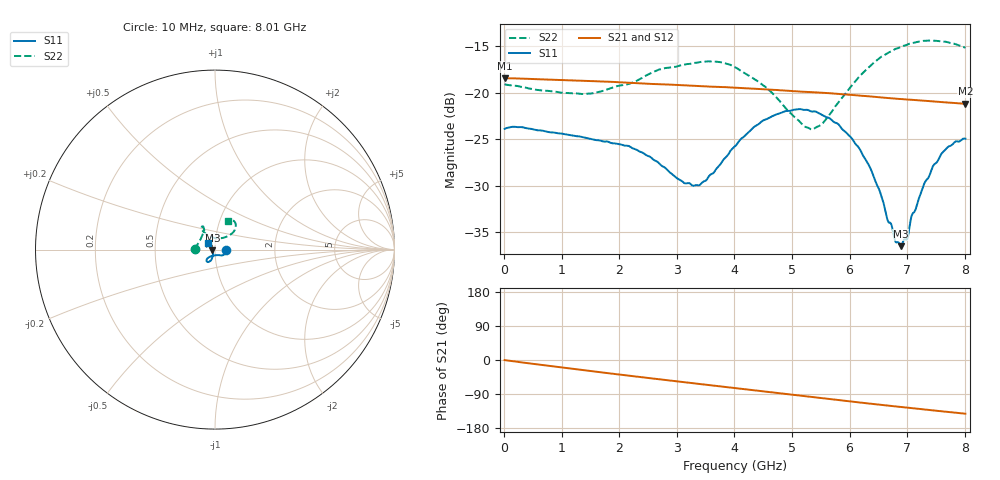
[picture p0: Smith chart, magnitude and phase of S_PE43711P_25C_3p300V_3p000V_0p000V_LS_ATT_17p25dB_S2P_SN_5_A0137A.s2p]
! Device ID: PE43711P
! File Path: z:\PE43711P\CHAR_NOM_04282014\AMB\3p300\LS_ATT_17p25dB\PE43711P_AMB_3p300V_3p000V_0p000V_LS_ATT_17p25dB_S2P_SN_5_A0137A.s2p
! Serial: 5
! Lot: A0137A
! Temp: 25C
! VDD: 3.300
! VSS: 0.000
! Control_Hi: 3.000
! Control_Lo: 0.000
! Attenuation Step: 17.25dB
! Port 1: RF1
! Port 2: RF2
! ThroughPath:1-2
! IDD: 0.0001273353
! ISS: -6.97e-008
#  Hz  S  RI  R  50
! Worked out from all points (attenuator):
!   801 points, 10 MHz to 8.01 GHz, reference 50 ohm
!   highest |S21| = -18.44 dB at 20 MHz (marker M1); lowest = -21.2 dB at 8.01 GHz (marker M2)
!   lowest |S11| = -36.5 dB at 6.89 GHz (marker M3), VSWR 1.03, Z = 48.6 - j0.313 ohm
!   |S11| at or under -10 dB: start of sweep to end of sweep
!   |S22| runs from -24.0 to -14.4 dB; largest |S21 - S12| = 0.00022
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1e7  0.0639 5.58e-05  0.1197 -0.000517  0.1198 -0.000583  -0.1112 0.000886
2e7  0.0641 -4.85e-05  0.1197 -0.000868  0.1197 -0.000912  -0.1109 0.00147
1.35e9  0.0507 -0.0278  0.1042 -0.0513  0.1043 -0.0513  -0.0848 0.0501
2.16e9  0.0398 -0.033  0.0851 -0.0747  0.0852 -0.0747  -0.0655 0.0901
2.68e9  0.028 -0.0314  0.0707 -0.0858  0.0707 -0.0859  -0.0621 0.1175
3.11e9  0.0119 -0.0307  0.0576 -0.0933  0.0576 -0.0934  -0.0642 0.1258
3.37e9  0.000223 -0.0317  0.0495 -0.0966  0.0496 -0.0966  -0.0671 0.1293
4.01e9  -0.0314 -0.0408  0.0289 -0.1025  0.0289 -0.1025  -0.0751 0.1149
4.69e9  -0.0472 -0.059  0.00671 -0.1033  0.00669 -0.1034  -0.0476 0.0846
5.35e9  -0.0395 -0.0687  -0.0135 -0.0997  -0.0135 -0.0998  0.00779 0.0629
5.53e9  -0.0339 -0.0679  -0.0189 -0.0981  -0.0188 -0.0982  0.027 0.0627
5.79e9  -0.0258 -0.0631  -0.0264 -0.095  -0.0264 -0.0951  0.0542 0.0685
6.16e9  -0.0162 -0.0479  -0.0361 -0.0896  -0.0361 -0.0897  0.0876 0.0841
6.38e9  -0.0126 -0.0357  -0.0414 -0.086  -0.0414 -0.0861  0.1023 0.0975
6.68e9  -0.0125 -0.0157  -0.0475 -0.0806  -0.0476 -0.0807  0.1134 0.1198
6.8e9  -0.0131 -0.00864  -0.0499 -0.0784  -0.0499 -0.0784  0.1153 0.1282
6.89e9  -0.0146 -0.00322  -0.0516 -0.0768  -0.0516 -0.0768  0.1162 0.1336
6.99e9  -0.0159 0.00253  -0.0534 -0.0749  -0.0534 -0.0749  0.1157 0.1392
7.09e9  -0.0202 0.00921  -0.0553 -0.073  -0.0553 -0.0731  0.1138 0.1458
7.46e9  -0.0299 0.0277  -0.0614 -0.0655  -0.0614 -0.0656  0.0998 0.1625
7.69e9  -0.0362 0.0351  -0.0645 -0.0607  -0.0646 -0.0606  0.0867 0.1664
8.01e9  -0.0405 0.0395  -0.0684 -0.054  -0.0686 -0.0539  0.0708 0.1596
